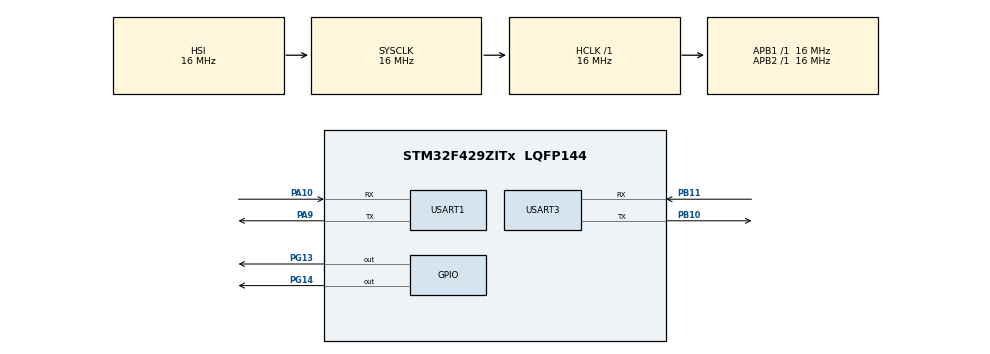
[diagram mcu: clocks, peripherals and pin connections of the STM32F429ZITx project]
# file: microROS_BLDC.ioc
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Dma.Request0=USART3_RX
Dma.Request1=USART3_TX
Dma.Request2=USART1_RX
Dma.Request3=USART1_TX
Dma.USART1_RX.2.Direction=DMA_PERIPH_TO_MEMORY
Dma.USART1_RX.2.FIFOMode=DMA_FIFOMODE_DISABLE
Dma.USART1_RX.2.Instance=DMA2_Stream2
Dma.USART1_RX.2.MemDataAlignment=DMA_MDATAALIGN_BYTE
Dma.USART1_RX.2.MemInc=DMA_MINC_ENABLE
Dma.USART1_RX.2.Mode=DMA_NORMAL
Dma.USART1_RX.2.PeriphDataAlignment=DMA_PDATAALIGN_BYTE
Dma.USART1_RX.2.PeriphInc=DMA_PINC_DISABLE
Dma.USART1_RX.2.Priority=DMA_PRIORITY_VERY_HIGH
Dma.USART1_TX.3.Direction=DMA_MEMORY_TO_PERIPH
Dma.USART1_TX.3.FIFOMode=DMA_FIFOMODE_DISABLE
Dma.USART1_TX.3.Instance=DMA2_Stream7
Dma.USART1_TX.3.MemDataAlignment=DMA_MDATAALIGN_BYTE
Dma.USART1_TX.3.MemInc=DMA_MINC_ENABLE
Dma.USART1_TX.3.Mode=DMA_NORMAL
Dma.USART1_TX.3.PeriphDataAlignment=DMA_PDATAALIGN_BYTE
Dma.USART1_TX.3.PeriphInc=DMA_PINC_DISABLE
Dma.USART1_TX.3.Priority=DMA_PRIORITY_VERY_HIGH
Dma.USART3_RX.0.Direction=DMA_PERIPH_TO_MEMORY
Dma.USART3_RX.0.FIFOMode=DMA_FIFOMODE_DISABLE
Dma.USART3_RX.0.Instance=DMA1_Stream1
Dma.USART3_RX.0.MemDataAlignment=DMA_MDATAALIGN_BYTE
Dma.USART3_RX.0.MemInc=DMA_MINC_ENABLE
Dma.USART3_RX.0.Mode=DMA_NORMAL
Dma.USART3_RX.0.PeriphDataAlignment=DMA_PDATAALIGN_BYTE
Dma.USART3_RX.0.PeriphInc=DMA_PINC_DISABLE
Dma.USART3_RX.0.Priority=DMA_PRIORITY_VERY_HIGH
Dma.USART3_TX.1.Direction=DMA_MEMORY_TO_PERIPH
Dma.USART3_TX.1.FIFOMode=DMA_FIFOMODE_DISABLE
Dma.USART3_TX.1.Instance=DMA1_Stream3
Dma.USART3_TX.1.MemDataAlignment=DMA_MDATAALIGN_BYTE
Dma.USART3_TX.1.MemInc=DMA_MINC_ENABLE
Dma.USART3_TX.1.Mode=DMA_NORMAL
Dma.USART3_TX.1.PeriphDataAlignment=DMA_PDATAALIGN_BYTE
Dma.USART3_TX.1.PeriphInc=DMA_PINC_DISABLE
Dma.USART3_TX.1.Priority=DMA_PRIORITY_VERY_HIGH
FREERTOS.Tasks01=defaultTask,24,3000,StartDefaultTask,Default,NULL,Dynamic,NULL,NULL
Mcu.Family=STM32F4
Mcu.Name=STM32F429ZITx
Mcu.Package=LQFP144
NVIC.DMA1_Stream1_IRQn=true\:5\:0\:false\:false\:true\:true\:false\:true\:true
NVIC.DMA1_Stream3_IRQn=true\:5\:0\:false\:false\:true\:true\:false\:true\:true
NVIC.DMA2_Stream2_IRQn=true\:5\:0\:false\:false\:true\:true\:false\:true\:true
NVIC.DMA2_Stream7_IRQn=true\:5\:0\:false\:false\:true\:true\:false\:true\:true
NVIC.PriorityGroup=NVIC_PRIORITYGROUP_4
NVIC.USART1_IRQn=true\:5\:0\:false\:false\:true\:true\:true\:true\:true
NVIC.USART3_IRQn=true\:5\:0\:false\:false\:true\:true\:true\:true\:true
PA10.Mode=Asynchronous
PA10.Signal=USART1_RX
PA9.Mode=Asynchronous
PA9.Signal=USART1_TX
PB10.Mode=Asynchronous
PB10.Signal=USART3_TX
PB11.Mode=Asynchronous
PB11.Signal=USART3_RX
PG13.Signal=GPIO_Output
PG14.Signal=GPIO_Output
PH0/OSC_IN.Mode=HSE-External-Oscillator
PH0/OSC_IN.Signal=RCC_OSC_IN
PH1/OSC_OUT.Mode=HSE-External-Oscillator
PH1/OSC_OUT.Signal=RCC_OSC_OUT
ProjectManager.HeapSize=0x200
ProjectManager.StackSize=0x400
ProjectManager.TargetToolchain=STM32CubeIDE
RCC.AHBFreq_Value=16000000
RCC.APB1Freq_Value=16000000
RCC.APB2Freq_Value=16000000
RCC.CortexFreq_Value=16000000
RCC.HSE_VALUE=25000000
RCC.HSI_VALUE=16000000
RCC.LSE_VALUE=32768
RCC.SYSCLKFreq_VALUE=16000000
RCC.VCOOutputFreq_Value=192000000
USART1.VirtualMode=VM_ASYNC
USART3.VirtualMode=VM_ASYNC
VP_FREERTOS_VS_CMSIS_V2.Mode=CMSIS_V2
board=custom

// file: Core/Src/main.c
/* USER CODE BEGIN Header */
/**
 ******************************************************************************
 * @file           : main.c
 * @brief          : Main program body
 ******************************************************************************
 */
/* USER CODE END Header */
#include "main.h"
#include "cmsis_os.h"
#include "dma.h"
#include "usart.h"
#include "gpio.h"

/* USER CODE BEGIN Includes */
#include "motor_control.h"
#include "microros_app.h"
/* USER CODE END Includes */

void SystemClock_Config(void);
void MX_FREERTOS_Init(void);

int main(void) {

	/* MCU Configuration--------------------------------------------------------*/

	/* Reset of all peripherals, Initializes the Flash interface and the Systick. */
	HAL_Init();

	/* Configure the system clock */
	SystemClock_Config();

	/* Initialize all configured peripherals */
	MX_GPIO_Init();
	MX_DMA_Init();
	MX_USART3_UART_Init();
	MX_USART1_UART_Init();

	/* Init scheduler */
	osKernelInitialize(); /* Call init function for freertos objects (in cmsis_os2.c) */
	MX_FREERTOS_Init();

	/* Start scheduler */
	osKernelStart();

	/* We should never get here as control is now taken by the scheduler */

	/* Infinite loop */
	while (1) {

	}
}

void SystemClock_Config(void) {
	RCC_OscInitTypeDef RCC_OscInitStruct = { 0 };
	RCC_ClkInitTypeDef RCC_ClkInitStruct = { 0 };

	/** Configure the main internal regulator output voltage
	 */
	__HAL_RCC_PWR_CLK_ENABLE();
	__HAL_PWR_VOLTAGESCALING_CONFIG(PWR_REGULATOR_VOLTAGE_SCALE3);

	/** Initializes the RCC Oscillators according to the specified parameters
	 * in the RCC_OscInitTypeDef structure.
	 */
	RCC_OscInitStruct.OscillatorType = RCC_OSCILLATORTYPE_HSI;
	RCC_OscInitStruct.HSIState = RCC_HSI_ON;
	RCC_OscInitStruct.HSICalibrationValue = RCC_HSICALIBRATION_DEFAULT;
	RCC_OscInitStruct.PLL.PLLState = RCC_PLL_NONE;
	if (HAL_RCC_OscConfig(&RCC_OscInitStruct) != HAL_OK) {
		Error_Handler();
	}

	/** Initializes the CPU, AHB and APB buses clocks
	 */
	RCC_ClkInitStruct.ClockType = RCC_CLOCKTYPE_HCLK | RCC_CLOCKTYPE_SYSCLK
			| RCC_CLOCKTYPE_PCLK1 | RCC_CLOCKTYPE_PCLK2;
	RCC_ClkInitStruct.SYSCLKSource = RCC_SYSCLKSOURCE_HSI;
	RCC_ClkInitStruct.AHBCLKDivider = RCC_SYSCLK_DIV1;
	RCC_ClkInitStruct.APB1CLKDivider = RCC_HCLK_DIV1;
	RCC_ClkInitStruct.APB2CLKDivider = RCC_HCLK_DIV1;

	if (HAL_RCC_ClockConfig(&RCC_ClkInitStruct, FLASH_LATENCY_0) != HAL_OK) {
		Error_Handler();
	}
}

void Error_Handler(void) {
	__disable_irq();
	while (1) {
	}
}

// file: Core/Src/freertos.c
/* USER CODE BEGIN Header */
/**
 ******************************************************************************
 * File Name          : freertos.c
 * Description        : Code for freertos applications
 ******************************************************************************
 * @attention
 *
 * Copyright (c) 2026 STMicroelectronics.
 * All rights reserved.
 *
 * This software is licensed under terms that can be found in the LICENSE file
 * in the root directory of this software component.
 * If no LICENSE file comes with this software, it is provided AS-IS.
 *
 ******************************************************************************
 */
/* USER CODE END Header */

#include "FreeRTOS.h"
#include "task.h"
#include "main.h"
#include "cmsis_os.h"

/* USER CODE BEGIN Includes */
#include "motor_control.h"
#include "microros_app.h"
#include <stdint.h>

/* USER CODE END Includes */

/* Definitions for defaultTask */
osThreadId_t defaultTaskHandle;
const osThreadAttr_t defaultTask_attributes = { .name = "defaultTask",
		.stack_size = 3000 * 4, .priority = (osPriority_t) osPriorityNormal, };

void StartDefaultTask(void *argument);

void MX_FREERTOS_Init(void); /* (MISRA C 2004 rule 8.1) */

void MX_FREERTOS_Init(void) {

	/* Create the thread(s) */
	/* creation of defaultTask */
	defaultTaskHandle = osThreadNew(StartDefaultTask, NULL,
			&defaultTask_attributes);

}

void StartDefaultTask(void *argument) {
	/* USER CODE BEGIN StartDefaultTask */
	int32_t rpm = 0;

	bool init_ok = microros_app_init();

	if (!init_ok) {
		while (1) {
			osDelay(100);
		}
	}

	motor_reset(0);
	osDelay(100);

	motor_set_acceleration(0, 100000);
	osDelay(100);

	motor_enable(0);
	osDelay(500);

	/* Infinite loop */
	for (;;) {

		microros_app_spin();

		if (microros_has_new_speed_command()) {
			rpm = microros_get_target_rpm();
			motor_set_speed_rpm(0, rpm);
			microros_clear_new_speed_command();
		}
		osDelay(10);
	}
	/* USER CODE END StartDefaultTask */
}
